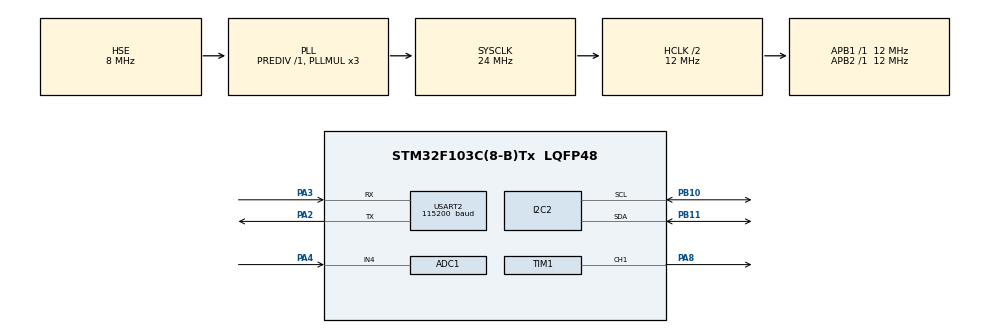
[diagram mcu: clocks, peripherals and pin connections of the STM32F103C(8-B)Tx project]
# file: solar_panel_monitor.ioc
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ADC1.Channel-5\#ChannelRegularConversion=ADC_CHANNEL_4
ADC1.ContinuousConvMode=ENABLE
ADC1.NbrOfConversionFlag=1
ADC1.Rank-5\#ChannelRegularConversion=1
ADC1.SamplingTime-5\#ChannelRegularConversion=ADC_SAMPLETIME_41CYCLES_5
ADC1.master=1
Dma.Request0=USART2_TX
Dma.USART2_TX.0.Direction=DMA_MEMORY_TO_PERIPH
Dma.USART2_TX.0.Instance=DMA1_Channel7
Dma.USART2_TX.0.MemDataAlignment=DMA_MDATAALIGN_BYTE
Dma.USART2_TX.0.MemInc=DMA_MINC_ENABLE
Dma.USART2_TX.0.Mode=DMA_NORMAL
Dma.USART2_TX.0.PeriphDataAlignment=DMA_PDATAALIGN_BYTE
Dma.USART2_TX.0.PeriphInc=DMA_PINC_DISABLE
Dma.USART2_TX.0.Priority=DMA_PRIORITY_LOW
I2C2.I2C_Mode=I2C_Fast
Mcu.Family=STM32F1
Mcu.Name=STM32F103C(8-B)Tx
Mcu.Package=LQFP48
NVIC.DMA1_Channel7_IRQn=true\:0\:0\:false\:false\:true\:false\:true\:true
NVIC.PriorityGroup=NVIC_PRIORITYGROUP_4
NVIC.TIM1_BRK_IRQn=true\:0\:0\:false\:false\:true\:true\:true\:true
NVIC.TIM4_IRQn=true\:0\:0\:false\:false\:true\:true\:true\:true
NVIC.USART2_IRQn=true\:0\:0\:false\:false\:true\:true\:true\:true
PA13.Mode=Serial_Wire
PA13.Signal=SYS_JTMS-SWDIO
PA14.Mode=Serial_Wire
PA14.Signal=SYS_JTCK-SWCLK
PA2.Mode=Asynchronous
PA2.Signal=USART2_TX
PA3.Mode=Asynchronous
PA3.Signal=USART2_RX
PA4.Signal=ADCx_IN4
PA8.Signal=S_TIM1_CH1
PB10.Mode=I2C
PB10.Signal=I2C2_SCL
PB11.Mode=I2C
PB11.Signal=I2C2_SDA
PD0-OSC_IN.Mode=HSE-External-Oscillator
PD0-OSC_IN.Signal=RCC_OSC_IN
PD1-OSC_OUT.Mode=HSE-External-Oscillator
PD1-OSC_OUT.Signal=RCC_OSC_OUT
ProjectManager.HeapSize=0x200
ProjectManager.StackSize=0x400
ProjectManager.TargetToolchain=STM32CubeIDE
RCC.AHBCLKDivider=RCC_SYSCLK_DIV2
RCC.AHBFreq_Value=12000000
RCC.APB1Freq_Value=12000000
RCC.APB1TimFreq_Value=12000000
RCC.APB2Freq_Value=12000000
RCC.APB2TimFreq_Value=12000000
RCC.HCLKFreq_Value=12000000
RCC.PLLMUL=RCC_PLL_MUL3
RCC.PLLSourceVirtual=RCC_PLLSOURCE_HSE
RCC.SYSCLKFreq_VALUE=24000000
RCC.SYSCLKSource=RCC_SYSCLKSOURCE_PLLCLK
RCC.USBFreq_Value=24000000
SH.ADCx_IN4.0=ADC1_IN4,IN4
SH.S_TIM1_CH1.0=TIM1_CH1,PWM Generation1 CH1
TIM1.Channel-PWM\ Generation1\ CH1=TIM_CHANNEL_1
TIM1.Period=99
TIM1.Prescaler=4
TIM1.Pulse-PWM\ Generation1\ CH1=0
TIM4.Period=99
TIM4.Prescaler=12
USART2.BaudRate=115200 
USART2.Mode=MODE_TX
USART2.VirtualMode=VM_ASYNC
VP_TIM1_VS_ClockSourceINT.Mode=Internal
VP_TIM4_VS_ClockSourceINT.Mode=Internal
board=custom

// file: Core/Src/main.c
/* USER CODE BEGIN Header */
/**
  ******************************************************************************
  * @file           : main.c
  * @brief          : Main program body
  ******************************************************************************
  * @attention
  *
  * <h2><center>&copy; Copyright (c) 2022 STMicroelectronics.
  * All rights reserved.</center></h2>
  *
  * This software component is licensed by ST under BSD 3-Clause license,
  * the "License"; You may not use this file except in compliance with the
  * License. You may obtain a copy of the License at:
  *                        opensource.org/licenses/BSD-3-Clause
  *
  ******************************************************************************
  */
/* USER CODE END Header */
#include "main.h"

/* USER CODE BEGIN Includes */
#include "ina219.h"
#include <stdio.h>
#include <math.h>
/* USER CODE END Includes */

/* USER CODE BEGIN PD */
#define CURRENT_MEDIUM_AVERAGE_FILTER_STEP 5
#define POWER_MEDIUM_AVERAGE_FILTER_STEP 5
#define VOLTAGE_MEDIUM_AVERAGE_FILTER_STEP 5
#define LOAD_VOLTAGE_MEDIUM_AVERAGE_FILTER_STEP 7
#define BOOSTER_COEFF 6.6
/* USER CODE END PD */

ADC_HandleTypeDef hadc1;

I2C_HandleTypeDef hi2c2;

TIM_HandleTypeDef htim1;
TIM_HandleTypeDef htim4;

UART_HandleTypeDef huart2;
DMA_HandleTypeDef hdma_usart2_tx;

void SystemClock_Config(void);
static void MX_GPIO_Init(void);
static void MX_DMA_Init(void);
static void MX_I2C2_Init(void);
static void MX_USART2_UART_Init(void);
static void MX_TIM4_Init(void);
static void MX_TIM1_Init(void);
static void MX_ADC1_Init(void);

/* USER CODE BEGIN 0 */

//filter counters
int CURRENT_FILTER_COUNTER = 0;
int POWER_FILTER_COUNTER = 0;
int VOLTAGE_FILTER_COUNTER = 0;
int LOAD_VOLTAGE_FILTER_COUNTER = 0;

// vars for current filter and algos
float current_filter_data[CURRENT_MEDIUM_AVERAGE_FILTER_STEP] = {0};
float current_filter_sum_value = 0;
float current_value = 0;
float average_current_value = 0;
float delta_I = 0;
float prev_I = 0;

// vars for power filter and algos
float power_filter_data[POWER_MEDIUM_AVERAGE_FILTER_STEP] = {0};
float power_filter_sum_value = 0;
float power_value = 0;
float average_power_value = 0;
float delta_P = 0;
float prev_P = 0;

// vars for voltage filter and algos
float voltage_filter_data[VOLTAGE_MEDIUM_AVERAGE_FILTER_STEP] = {0};
float voltage_filter_sum_value = 0;
float voltage_value = 0;
float average_voltage_value = 0;
float delta_V = 0;
float prev_V = 0;

// vars for load voltage filter and algos
float load_voltage_filter_data[LOAD_VOLTAGE_MEDIUM_AVERAGE_FILTER_STEP] = {0};
float load_voltage_filter_sum_value = 0;
float load_voltage_value = 0;
float average_load_voltage_value = 0;

//duty cycle value for algorithms
int duty_cycle = 0;

//transfer data structure
typedef struct
{
	uint32_t header;
	float ina219_current_value; //mA
	float ina219_voltage_value; //V
	float ina219_power_value; //mW
	float delta_V;
	float delta_I;
	float delta_P;
	float duty_cycle;
	float load_voltage;
	uint32_t terminator;
}ina219_sensor_data;

ina219_sensor_data data;

void getData(){
	//get data
	current_value = getCurrent_mA();
	power_value = getPower_mW();
	voltage_value = getBusVoltage_V();
	load_voltage_value = 3.3*HAL_ADC_GetValue(&hadc1)/4096;
	load_voltage_value = -1*BOOSTER_COEFF*(load_voltage_value*2-3.3);
}
void filterData(){
	//filtering current
	current_filter_sum_value = current_filter_sum_value - current_filter_data[CURRENT_FILTER_COUNTER];
	current_filter_data[CURRENT_FILTER_COUNTER] = current_value;
	current_filter_sum_value = current_filter_sum_value + current_value;
	CURRENT_FILTER_COUNTER = (CURRENT_FILTER_COUNTER + 1) % CURRENT_MEDIUM_AVERAGE_FILTER_STEP;
	average_current_value = current_filter_sum_value / CURRENT_MEDIUM_AVERAGE_FILTER_STEP;

	//filtering power
	power_filter_sum_value = power_filter_sum_value - power_filter_data[POWER_FILTER_COUNTER];
	power_filter_data[POWER_FILTER_COUNTER] = power_value;
	power_filter_sum_value = power_filter_sum_value + power_value;
	POWER_FILTER_COUNTER = (POWER_FILTER_COUNTER + 1) % POWER_MEDIUM_AVERAGE_FILTER_STEP;
	average_power_value = power_filter_sum_value / POWER_MEDIUM_AVERAGE_FILTER_STEP;

	//filtering voltage
	voltage_filter_sum_value = voltage_filter_sum_value - voltage_filter_data[VOLTAGE_FILTER_COUNTER];
	voltage_filter_data[VOLTAGE_FILTER_COUNTER] = voltage_value;
	voltage_filter_sum_value = voltage_filter_sum_value + voltage_value;
	VOLTAGE_FILTER_COUNTER = (VOLTAGE_FILTER_COUNTER + 1) % VOLTAGE_MEDIUM_AVERAGE_FILTER_STEP;
	average_voltage_value = voltage_filter_sum_value / VOLTAGE_MEDIUM_AVERAGE_FILTER_STEP;

	//filtering load voltage
	load_voltage_filter_sum_value = load_voltage_filter_sum_value - load_voltage_filter_data[LOAD_VOLTAGE_FILTER_COUNTER];
	load_voltage_filter_data[LOAD_VOLTAGE_FILTER_COUNTER] = load_voltage_value;
	load_voltage_filter_sum_value = load_voltage_filter_sum_value + load_voltage_value;
	LOAD_VOLTAGE_FILTER_COUNTER = (LOAD_VOLTAGE_FILTER_COUNTER + 1) % LOAD_VOLTAGE_MEDIUM_AVERAGE_FILTER_STEP;
	average_load_voltage_value = load_voltage_filter_sum_value / LOAD_VOLTAGE_MEDIUM_AVERAGE_FILTER_STEP;
}

void formOutputPacket()
{
	data.header = 'NNNN';
	data.ina219_current_value = average_current_value;
	data.ina219_voltage_value = average_voltage_value;
	data.ina219_power_value = average_power_value;
	data.delta_I = delta_I;
	data.delta_V = delta_V;
	data.delta_P = delta_P;
	data.duty_cycle = duty_cycle;
	data.load_voltage = average_load_voltage_value;
	data.terminator = 'EEEE';
}

void updateTimerPwmParameters(int prescaler, int counterPeriod, int pulse){
	htim1.Init.Prescaler = prescaler;
	htim1.Init.Period = counterPeriod;
	HAL_TIM_Base_Init(&htim1);
	__HAL_TIM_SET_COMPARE(&htim1, TIM_CHANNEL_1, pulse);
}

void updateDutyCycle(int pulse){
	__HAL_TIM_SET_COMPARE(&htim1, TIM_CHANNEL_1, pulse);
}

void dutyCycleLimits(){
	if(duty_cycle < 0){
		duty_cycle = 0;
	}else if(duty_cycle > 99){
		duty_cycle = 99;
	}
}

void  perturbObserveAlgorithm(){
	delta_P = average_power_value - prev_P;
	delta_V = average_voltage_value - prev_V;
	prev_P = average_power_value;
	prev_V =  average_voltage_value;

	if(delta_P > 0){
		if(delta_V > 0 ){
			duty_cycle -= 1;
			dutyCycleLimits();
			updateDutyCycle(duty_cycle);
		}else{
			duty_cycle += 1;
			dutyCycleLimits();
			updateDutyCycle(duty_cycle);
		}
	}else{
		if(delta_V > 0 ){
			duty_cycle += 1;
			dutyCycleLimits();
			updateDutyCycle(duty_cycle);
		}else{
			duty_cycle -= 1;
			dutyCycleLimits();
			updateDutyCycle(duty_cycle);
		}
	}
}

void incrementalConductanceAlgorithm(){
	delta_V = average_voltage_value - prev_V;
	delta_I = average_current_value - prev_I;
	prev_I = average_current_value;
	prev_V = average_voltage_value;

	if (fabs(delta_V) <= 0.1){
		if(delta_I > 0){
			duty_cycle -= 1;
			dutyCycleLimits();
			updateDutyCycle(duty_cycle);
		} else if(delta_I < 0){
			duty_cycle += 1;
			dutyCycleLimits();
			updateDutyCycle(duty_cycle);
		}
	}else{
		if(delta_I/delta_V > -average_current_value/average_voltage_value){
			duty_cycle -= 1;
			dutyCycleLimits();
			updateDutyCycle(duty_cycle);
		}else{
			duty_cycle += 1;
			dutyCycleLimits();
			updateDutyCycle(duty_cycle);
		}
	}
}
/* USER CODE END 0 */

int main(void)
{

  /* MCU Configuration--------------------------------------------------------*/

  /* Reset of all peripherals, Initializes the Flash interface and the Systick. */
  HAL_Init();

  /* Configure the system clock */
  SystemClock_Config();

  /* Initialize all configured peripherals */
  MX_GPIO_Init();
  MX_DMA_Init();
  MX_I2C2_Init();
  MX_USART2_UART_Init();
  MX_TIM4_Init();
  MX_TIM1_Init();
  MX_ADC1_Init();
  /* USER CODE BEGIN 2 */
  HAL_TIM_Base_Start_IT(&htim4);
  HAL_TIM_PWM_Start(&htim1, TIM_CHANNEL_1);
  HAL_ADC_Start(&hadc1);
  setCalibration_16V_400mA();
  /* USER CODE END 2 */

  /* Infinite loop */
  /* USER CODE BEGIN WHILE */
  while (1)
  {
	  getData();
	  filterData();
	  incrementalConductanceAlgorithm();
//	  perturbObserveAlgorithm();
	  formOutputPacket();
    /* USER CODE END WHILE */

  }
}

void SystemClock_Config(void)
{
  RCC_OscInitTypeDef RCC_OscInitStruct = {0};
  RCC_ClkInitTypeDef RCC_ClkInitStruct = {0};
  RCC_PeriphCLKInitTypeDef PeriphClkInit = {0};

  /** Initializes the RCC Oscillators according to the specified parameters
  * in the RCC_OscInitTypeDef structure.
  */
  RCC_OscInitStruct.OscillatorType = RCC_OSCILLATORTYPE_HSE;
  RCC_OscInitStruct.HSEState = RCC_HSE_ON;
  RCC_OscInitStruct.HSEPredivValue = RCC_HSE_PREDIV_DIV1;
  RCC_OscInitStruct.HSIState = RCC_HSI_ON;
  RCC_OscInitStruct.PLL.PLLState = RCC_PLL_ON;
  RCC_OscInitStruct.PLL.PLLSource = RCC_PLLSOURCE_HSE;
  RCC_OscInitStruct.PLL.PLLMUL = RCC_PLL_MUL3;
  if (HAL_RCC_OscConfig(&RCC_OscInitStruct) != HAL_OK)
  {
    Error_Handler();
  }

  /** Initializes the CPU, AHB and APB buses clocks
  */
  RCC_ClkInitStruct.ClockType = RCC_CLOCKTYPE_HCLK|RCC_CLOCKTYPE_SYSCLK
                              |RCC_CLOCKTYPE_PCLK1|RCC_CLOCKTYPE_PCLK2;
  RCC_ClkInitStruct.SYSCLKSource = RCC_SYSCLKSOURCE_PLLCLK;
  RCC_ClkInitStruct.AHBCLKDivider = RCC_SYSCLK_DIV2;
  RCC_ClkInitStruct.APB1CLKDivider = RCC_HCLK_DIV1;
  RCC_ClkInitStruct.APB2CLKDivider = RCC_HCLK_DIV1;

  if (HAL_RCC_ClockConfig(&RCC_ClkInitStruct, FLASH_LATENCY_0) != HAL_OK)
  {
    Error_Handler();
  }
  PeriphClkInit.PeriphClockSelection = RCC_PERIPHCLK_ADC;
  PeriphClkInit.AdcClockSelection = RCC_ADCPCLK2_DIV2;
  if (HAL_RCCEx_PeriphCLKConfig(&PeriphClkInit) != HAL_OK)
  {
    Error_Handler();
  }
}

static void MX_ADC1_Init(void)
{

  ADC_ChannelConfTypeDef sConfig = {0};

  /** Common config
  */
  hadc1.Instance = ADC1;
  hadc1.Init.ScanConvMode = ADC_SCAN_DISABLE;
  hadc1.Init.ContinuousConvMode = ENABLE;
  hadc1.Init.DiscontinuousConvMode = DISABLE;
  hadc1.Init.ExternalTrigConv = ADC_SOFTWARE_START;
  hadc1.Init.DataAlign = ADC_DATAALIGN_RIGHT;
  hadc1.Init.NbrOfConversion = 1;
  if (HAL_ADC_Init(&hadc1) != HAL_OK)
  {
    Error_Handler();
  }

  /** Configure Regular Channel
  */
  sConfig.Channel = ADC_CHANNEL_4;
  sConfig.Rank = ADC_REGULAR_RANK_1;
  sConfig.SamplingTime = ADC_SAMPLETIME_41CYCLES_5;
  if (HAL_ADC_ConfigChannel(&hadc1, &sConfig) != HAL_OK)
  {
    Error_Handler();
  }

}

static void MX_I2C2_Init(void)
{

  hi2c2.Instance = I2C2;
  hi2c2.Init.ClockSpeed = 400000;
  hi2c2.Init.DutyCycle = I2C_DUTYCYCLE_2;
  hi2c2.Init.OwnAddress1 = 0;
  hi2c2.Init.AddressingMode = I2C_ADDRESSINGMODE_7BIT;
  hi2c2.Init.DualAddressMode = I2C_DUALADDRESS_DISABLE;
  hi2c2.Init.OwnAddress2 = 0;
  hi2c2.Init.GeneralCallMode = I2C_GENERALCALL_DISABLE;
  hi2c2.Init.NoStretchMode = I2C_NOSTRETCH_DISABLE;
  if (HAL_I2C_Init(&hi2c2) != HAL_OK)
  {
    Error_Handler();
  }

}

static void MX_TIM1_Init(void)
{

  TIM_ClockConfigTypeDef sClockSourceConfig = {0};
  TIM_MasterConfigTypeDef sMasterConfig = {0};
  TIM_OC_InitTypeDef sConfigOC = {0};
  TIM_BreakDeadTimeConfigTypeDef sBreakDeadTimeConfig = {0};

  htim1.Instance = TIM1;
  htim1.Init.Prescaler = 4;
  htim1.Init.CounterMode = TIM_COUNTERMODE_UP;
  htim1.Init.Period = 99;
  htim1.Init.ClockDivision = TIM_CLOCKDIVISION_DIV1;
  htim1.Init.RepetitionCounter = 0;
  htim1.Init.AutoReloadPreload = TIM_AUTORELOAD_PRELOAD_DISABLE;
  if (HAL_TIM_Base_Init(&htim1) != HAL_OK)
  {
    Error_Handler();
  }
  sClockSourceConfig.ClockSource = TIM_CLOCKSOURCE_INTERNAL;
  if (HAL_TIM_ConfigClockSource(&htim1, &sClockSourceConfig) != HAL_OK)
  {
    Error_Handler();
  }
  if (HAL_TIM_PWM_Init(&htim1) != HAL_OK)
  {
    Error_Handler();
  }
  sMasterConfig.MasterOutputTrigger = TIM_TRGO_RESET;
  sMasterConfig.MasterSlaveMode = TIM_MASTERSLAVEMODE_DISABLE;
  if (HAL_TIMEx_MasterConfigSynchronization(&htim1, &sMasterConfig) != HAL_OK)
  {
    Error_Handler();
  }
  sConfigOC.OCMode = TIM_OCMODE_PWM1;
  sConfigOC.Pulse = 0;
  sConfigOC.OCPolarity = TIM_OCPOLARITY_HIGH;
  sConfigOC.OCNPolarity = TIM_OCNPOLARITY_HIGH;
  sConfigOC.OCFastMode = TIM_OCFAST_DISABLE;
  sConfigOC.OCIdleState = TIM_OCIDLESTATE_RESET;
  sConfigOC.OCNIdleState = TIM_OCNIDLESTATE_RESET;
  if (HAL_TIM_PWM_ConfigChannel(&htim1, &sConfigOC, TIM_CHANNEL_1) != HAL_OK)
  {
    Error_Handler();
  }
  sBreakDeadTimeConfig.OffStateRunMode = TIM_OSSR_DISABLE;
  sBreakDeadTimeConfig.OffStateIDLEMode = TIM_OSSI_DISABLE;
  sBreakDeadTimeConfig.LockLevel = TIM_LOCKLEVEL_OFF;
  sBreakDeadTimeConfig.DeadTime = 0;
  sBreakDeadTimeConfig.BreakState = TIM_BREAK_DISABLE;
  sBreakDeadTimeConfig.BreakPolarity = TIM_BREAKPOLARITY_HIGH;
  sBreakDeadTimeConfig.AutomaticOutput = TIM_AUTOMATICOUTPUT_DISABLE;
  if (HAL_TIMEx_ConfigBreakDeadTime(&htim1, &sBreakDeadTimeConfig) != HAL_OK)
  {
    Error_Handler();
  }
  HAL_TIM_MspPostInit(&htim1);

}

static void MX_TIM4_Init(void)
{

  TIM_ClockConfigTypeDef sClockSourceConfig = {0};
  TIM_MasterConfigTypeDef sMasterConfig = {0};

  htim4.Instance = TIM4;
  htim4.Init.Prescaler = 12;
  htim4.Init.CounterMode = TIM_COUNTERMODE_UP;
  htim4.Init.Period = 99;
  htim4.Init.ClockDivision = TIM_CLOCKDIVISION_DIV1;
  htim4.Init.AutoReloadPreload = TIM_AUTORELOAD_PRELOAD_DISABLE;
  if (HAL_TIM_Base_Init(&htim4) != HAL_OK)
  {
    Error_Handler();
  }
  sClockSourceConfig.ClockSource = TIM_CLOCKSOURCE_INTERNAL;
  if (HAL_TIM_ConfigClockSource(&htim4, &sClockSourceConfig) != HAL_OK)
  {
    Error_Handler();
  }
  sMasterConfig.MasterOutputTrigger = TIM_TRGO_RESET;
  sMasterConfig.MasterSlaveMode = TIM_MASTERSLAVEMODE_DISABLE;
  if (HAL_TIMEx_MasterConfigSynchronization(&htim4, &sMasterConfig) != HAL_OK)
  {
    Error_Handler();
  }

}

static void MX_USART2_UART_Init(void)
{

  huart2.Instance = USART2;
  huart2.Init.BaudRate = 115200 ;
  huart2.Init.WordLength = UART_WORDLENGTH_8B;
  huart2.Init.StopBits = UART_STOPBITS_1;
  huart2.Init.Parity = UART_PARITY_NONE;
  huart2.Init.Mode = UART_MODE_TX;
  huart2.Init.HwFlowCtl = UART_HWCONTROL_NONE;
  huart2.Init.OverSampling = UART_OVERSAMPLING_16;
  if (HAL_UART_Init(&huart2) != HAL_OK)
  {
    Error_Handler();
  }

}

static void MX_DMA_Init(void)
{

  /* DMA controller clock enable */
  __HAL_RCC_DMA1_CLK_ENABLE();

  /* DMA interrupt init */
  /* DMA1_Channel7_IRQn interrupt configuration */
  HAL_NVIC_SetPriority(DMA1_Channel7_IRQn, 0, 0);
  HAL_NVIC_EnableIRQ(DMA1_Channel7_IRQn);

}

static void MX_GPIO_Init(void)
{

  /* GPIO Ports Clock Enable */
  __HAL_RCC_GPIOD_CLK_ENABLE();
  __HAL_RCC_GPIOA_CLK_ENABLE();
  __HAL_RCC_GPIOB_CLK_ENABLE();

}

/* USER CODE BEGIN 4 */
void HAL_TIM_PeriodElapsedCallback(TIM_HandleTypeDef* htim)
{
	//smile
	HAL_UART_Transmit_DMA(&huart2, &data, sizeof(data));
}
/* USER CODE END 4 */

void Error_Handler(void)
{
  __disable_irq();
  while (1)
  {
  }
}
